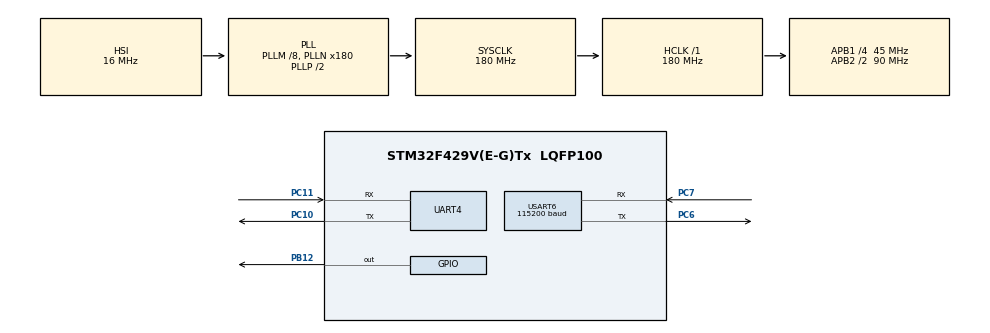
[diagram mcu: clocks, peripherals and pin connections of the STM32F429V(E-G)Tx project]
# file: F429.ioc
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Dma.Request0=USART6_RX
Dma.Request1=USART6_TX
Dma.USART6_RX.0.Direction=DMA_PERIPH_TO_MEMORY
Dma.USART6_RX.0.FIFOMode=DMA_FIFOMODE_DISABLE
Dma.USART6_RX.0.Instance=DMA2_Stream1
Dma.USART6_RX.0.MemDataAlignment=DMA_MDATAALIGN_BYTE
Dma.USART6_RX.0.MemInc=DMA_MINC_ENABLE
Dma.USART6_RX.0.Mode=DMA_NORMAL
Dma.USART6_RX.0.PeriphDataAlignment=DMA_PDATAALIGN_BYTE
Dma.USART6_RX.0.PeriphInc=DMA_PINC_DISABLE
Dma.USART6_RX.0.Priority=DMA_PRIORITY_LOW
Dma.USART6_TX.1.Direction=DMA_MEMORY_TO_PERIPH
Dma.USART6_TX.1.FIFOMode=DMA_FIFOMODE_DISABLE
Dma.USART6_TX.1.Instance=DMA2_Stream6
Dma.USART6_TX.1.MemDataAlignment=DMA_MDATAALIGN_BYTE
Dma.USART6_TX.1.MemInc=DMA_MINC_ENABLE
Dma.USART6_TX.1.Mode=DMA_NORMAL
Dma.USART6_TX.1.PeriphDataAlignment=DMA_PDATAALIGN_BYTE
Dma.USART6_TX.1.PeriphInc=DMA_PINC_DISABLE
Dma.USART6_TX.1.Priority=DMA_PRIORITY_LOW
FREERTOS.Tasks01=defaultTask,0,128,StartDefaultTask,Default,NULL,Dynamic,NULL,NULL;myTask02,-2,128,StartTask_Test,As weak,NULL,Dynamic,NULL,NULL
Mcu.Family=STM32F4
Mcu.Name=STM32F429V(E-G)Tx
Mcu.Package=LQFP100
NVIC.DMA2_Stream1_IRQn=true\:5\:0\:true\:false\:true\:true\:false\:true
NVIC.DMA2_Stream6_IRQn=true\:5\:0\:true\:false\:true\:true\:false\:true
NVIC.PriorityGroup=NVIC_PRIORITYGROUP_4
NVIC.TIM1_UP_TIM10_IRQn=true\:0\:0\:false\:false\:true\:false\:false\:true
NVIC.TimeBase=TIM1_UP_TIM10_IRQn
NVIC.TimeBaseIP=TIM1
NVIC.UART4_IRQn=true\:0\:0\:false\:false\:true\:false\:true\:true
NVIC.USART6_IRQn=true\:4\:0\:true\:false\:true\:true\:true\:true
PA13.Mode=Serial_Wire
PA13.Signal=SYS_JTMS-SWDIO
PA14.Mode=Serial_Wire
PA14.Signal=SYS_JTCK-SWCLK
PB12.GPIO_PuPd=GPIO_PULLUP
PB12.PinState=GPIO_PIN_SET
PB12.Signal=GPIO_Output
PC10.Mode=Asynchronous
PC10.Signal=UART4_TX
PC11.Mode=Asynchronous
PC11.Signal=UART4_RX
PC14/OSC32_IN.Mode=LSE-External-Oscillator
PC14/OSC32_IN.Signal=RCC_OSC32_IN
PC15/OSC32_OUT.Mode=LSE-External-Oscillator
PC15/OSC32_OUT.Signal=RCC_OSC32_OUT
PC6.Mode=Asynchronous
PC6.Signal=USART6_TX
PC7.Mode=Asynchronous
PC7.Signal=USART6_RX
PH0/OSC_IN.Mode=HSE-External-Oscillator
PH0/OSC_IN.Signal=RCC_OSC_IN
PH1/OSC_OUT.Mode=HSE-External-Oscillator
PH1/OSC_OUT.Signal=RCC_OSC_OUT
ProjectManager.HeapSize=0x200
ProjectManager.StackSize=0x400
ProjectManager.TargetToolchain=MDK-ARM V5.27
RCC.48MHZClocksFreq_Value=90000000
RCC.AHBFreq_Value=180000000
RCC.APB1CLKDivider=RCC_HCLK_DIV4
RCC.APB1Freq_Value=45000000
RCC.APB1TimFreq_Value=90000000
RCC.APB2CLKDivider=RCC_HCLK_DIV2
RCC.APB2Freq_Value=90000000
RCC.APB2TimFreq_Value=180000000
RCC.CortexFreq_Value=180000000
RCC.HCLKFreq_Value=180000000
RCC.HSE_VALUE=8000000
RCC.HSI_VALUE=16000000
RCC.PLLM=8
RCC.PLLN=180
RCC.SYSCLKFreq_VALUE=180000000
RCC.SYSCLKSource=RCC_SYSCLKSOURCE_PLLCLK
RCC.VCOOutputFreq_Value=360000000
UART4.VirtualMode=Asynchronous
USART6.BaudRate=115200
USART6.VirtualMode=VM_ASYNC
VP_FREERTOS_VS_CMSIS_V1.Mode=CMSIS_V1
VP_SYS_VS_tim1.Mode=TIM1
board=custom

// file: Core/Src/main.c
/* USER CODE BEGIN Header */
/**
 ******************************************************************************
 * @file           : main.c
 * @brief          : Main program body
 ******************************************************************************
 * @attention
 *
 * <h2><center>&copy; Copyright (c) 2020 STMicroelectronics.
 * All rights reserved.</center></h2>
 *
 * This software component is licensed by ST under Ultimate Liberty license
 * SLA0044, the "License"; You may not use this file except in compliance with
 * the License. You may obtain a copy of the License at:
 *                             www.st.com/SLA0044
 *
 ******************************************************************************
 */
/* USER CODE END Header */
#include "main.h"
#include "cmsis_os.h"

/* USER CODE BEGIN Includes */
#include "pppapp.h"
#include "test_http.h"
#include "uart_driver.h"
/* USER CODE END Includes */

/* USER CODE BEGIN PTD */
#ifdef __GNUC__
#define PUTCHAR_PROTOTYPE int __io_putchar(int ch)
#else
#define PUTCHAR_PROTOTYPE int fputc(int ch, FILE* f)
#endif
PUTCHAR_PROTOTYPE
{

    while ((UART4->SR & 0X40) == 0)
        ;
    UART4->DR = ( uint8_t )ch;
    return ch;
}
/* USER CODE END PTD */

/* USER CODE BEGIN PM */

uint8_t uart4_rxbuf[10];
/* USER CODE END PM */

UART_HandleTypeDef huart4;
UART_HandleTypeDef huart6;
DMA_HandleTypeDef  hdma_usart6_rx;
DMA_HandleTypeDef  hdma_usart6_tx;

osThreadId defaultTaskHandle;
osThreadId myTask02Handle;
/* USER CODE BEGIN PV */
uint8_t pData[1] = { 0 };
uint8_t Resv[1]  = { 0 };
/* USER CODE END PV */

void        SystemClock_Config(void);
static void MX_GPIO_Init(void);
static void MX_DMA_Init(void);
static void MX_USART6_UART_Init(void);
static void MX_UART4_Init(void);
void        StartDefaultTask(void const* argument);
void        StartTask_Test(void const* argument);

/* USER CODE BEGIN PFP */
// void tcp_connect_init( void );
// uint8_t lwip_comm_init(void);
/* USER CODE END PFP */

/* USER CODE BEGIN 0 */

void HAL_UART_RxCpltCallback(UART_HandleTypeDef* huart)
{
    DataType debug_data;
    // // HAL_UART_Transmit(&huart4, pData, 1, 1);
    // HAL_UART_Receive(&huart6, pData, sizeof(pData), 1);
    // Resv[0] = pData[0];

    // HAL_UART_Transmit(&huart4, Resv, 1, 1);
    // // UartIdleReceiveData(&huart6, &seqCQueue);
    // HAL_UART_Receive_IT(&huart6, pData, 1);

    if (huart->Instance == USART6)
    {
        if (QueueNotEmpty(&seqCQueue))
        {
            if (QueueDelete(&seqCQueue, &debug_data))
            {
                HAL_UART_Transmit(&huart4, debug_data.index, debug_data.size, 100);
            }
        }
    }
    if (huart->Instance == UART4)
    {
        HAL_UART_Transmit(&huart4, uart4_rxbuf, 1, 100);  // 把收到的字节原样发送出去
        HAL_UART_Receive_IT(&huart4, uart4_rxbuf, 1);     // 重新注册一次，要不然下次收不到了
    }
}

/* USER CODE END 0 */

int main(void)
{

    /* MCU Configuration--------------------------------------------------------*/

    /* Reset of all peripherals, Initializes the Flash interface and the Systick. */
    HAL_Init();

    /* USER CODE BEGIN Init */
    InitPeripherals();
    /* USER CODE END Init */

    /* Configure the system clock */
    SystemClock_Config();

    /* USER CODE BEGIN SysInit */
    // SCB->VTOR = FLASH_BASE | 0x8000;
    /* USER CODE END SysInit */

    /* Initialize all configured peripherals */
    MX_GPIO_Init();
    MX_DMA_Init();
    MX_USART6_UART_Init();
    MX_UART4_Init();
    /* USER CODE BEGIN 2 */
    HAL_GPIO_WritePin(GPIOB, GPIO_PIN_12, GPIO_PIN_SET);
    HAL_UART_Receive_IT(&huart6, ( uint8_t* )pData, 1);
    /* USER CODE END 2 */

    /* Create the thread(s) */
    /* definition and creation of defaultTask */
    osThreadDef(defaultTask, StartDefaultTask, osPriorityNormal, 0, 128 * 2);
    defaultTaskHandle = osThreadCreate(osThread(defaultTask), NULL);

    /* definition and creation of myTask02 */
    osThreadDef(myTask02, StartTask_Test, osPriorityLow, 0, 128 * 2);
    myTask02Handle = osThreadCreate(osThread(myTask02), NULL);

    /* USER CODE BEGIN RTOS_THREADS */
    /* add threads, ... */
    // tcp_connect_init();

    /* USER CODE END RTOS_THREADS */

    /* Start scheduler */
    osKernelStart();

    /* We should never get here as control is now taken by the scheduler */
    /* Infinite loop */
    while (1)
    {

    }
}

void SystemClock_Config(void)
{
    RCC_OscInitTypeDef RCC_OscInitStruct = { 0 };
    RCC_ClkInitTypeDef RCC_ClkInitStruct = { 0 };

    /** Configure the main internal regulator output voltage
     */
    __HAL_RCC_PWR_CLK_ENABLE();
    __HAL_PWR_VOLTAGESCALING_CONFIG(PWR_REGULATOR_VOLTAGE_SCALE1);
    /** Initializes the RCC Oscillators according to the specified parameters
     * in the RCC_OscInitTypeDef structure.
     */
    RCC_OscInitStruct.OscillatorType      = RCC_OSCILLATORTYPE_HSI;
    RCC_OscInitStruct.HSIState            = RCC_HSI_ON;
    RCC_OscInitStruct.HSICalibrationValue = RCC_HSICALIBRATION_DEFAULT;
    RCC_OscInitStruct.PLL.PLLState        = RCC_PLL_ON;
    RCC_OscInitStruct.PLL.PLLSource       = RCC_PLLSOURCE_HSI;
    RCC_OscInitStruct.PLL.PLLM            = 8;
    RCC_OscInitStruct.PLL.PLLN            = 180;
    RCC_OscInitStruct.PLL.PLLP            = RCC_PLLP_DIV2;
    RCC_OscInitStruct.PLL.PLLQ            = 4;
    if (HAL_RCC_OscConfig(&RCC_OscInitStruct) != HAL_OK)
    {
        Error_Handler();
    }
    /** Activate the Over-Drive mode
     */
    if (HAL_PWREx_EnableOverDrive() != HAL_OK)
    {
        Error_Handler();
    }
    /** Initializes the CPU, AHB and APB buses clocks
     */
    RCC_ClkInitStruct.ClockType      = RCC_CLOCKTYPE_HCLK | RCC_CLOCKTYPE_SYSCLK | RCC_CLOCKTYPE_PCLK1 | RCC_CLOCKTYPE_PCLK2;
    RCC_ClkInitStruct.SYSCLKSource   = RCC_SYSCLKSOURCE_PLLCLK;
    RCC_ClkInitStruct.AHBCLKDivider  = RCC_SYSCLK_DIV1;
    RCC_ClkInitStruct.APB1CLKDivider = RCC_HCLK_DIV4;
    RCC_ClkInitStruct.APB2CLKDivider = RCC_HCLK_DIV2;

    if (HAL_RCC_ClockConfig(&RCC_ClkInitStruct, FLASH_LATENCY_5) != HAL_OK)
    {
        Error_Handler();
    }
}

static void MX_UART4_Init(void)
{

    huart4.Instance          = UART4;
    huart4.Init.BaudRate     = 115200;
    huart4.Init.WordLength   = UART_WORDLENGTH_8B;
    huart4.Init.StopBits     = UART_STOPBITS_1;
    huart4.Init.Parity       = UART_PARITY_NONE;
    huart4.Init.Mode         = UART_MODE_TX_RX;
    huart4.Init.HwFlowCtl    = UART_HWCONTROL_NONE;
    huart4.Init.OverSampling = UART_OVERSAMPLING_16;
    if (HAL_UART_Init(&huart4) != HAL_OK)
    {
        Error_Handler();
    }
    /* USER CODE BEGIN UART4_Init 2 */
    HAL_UART_Receive_IT(&huart4, uart4_rxbuf, 1);
    /* USER CODE END UART4_Init 2 */
}

static void MX_USART6_UART_Init(void)
{

    huart6.Instance          = USART6;
    huart6.Init.BaudRate     = 115200;
    huart6.Init.WordLength   = UART_WORDLENGTH_8B;
    huart6.Init.StopBits     = UART_STOPBITS_1;
    huart6.Init.Parity       = UART_PARITY_NONE;
    huart6.Init.Mode         = UART_MODE_TX_RX;
    huart6.Init.HwFlowCtl    = UART_HWCONTROL_NONE;
    huart6.Init.OverSampling = UART_OVERSAMPLING_16;
    if (HAL_UART_Init(&huart6) != HAL_OK)
    {
        Error_Handler();
    }
    /* USER CODE BEGIN USART6_Init 2 */
    __HAL_UART_ENABLE_IT(&huart6, UART_IT_IDLE);
    /* USER CODE END USART6_Init 2 */
}

static void MX_DMA_Init(void)
{

    /* DMA controller clock enable */
    __HAL_RCC_DMA2_CLK_ENABLE();

    /* DMA interrupt init */
    /* DMA2_Stream1_IRQn interrupt configuration */
    HAL_NVIC_SetPriority(DMA2_Stream1_IRQn, 5, 0);
    HAL_NVIC_EnableIRQ(DMA2_Stream1_IRQn);
    /* DMA2_Stream6_IRQn interrupt configuration */
    HAL_NVIC_SetPriority(DMA2_Stream6_IRQn, 5, 0);
    HAL_NVIC_EnableIRQ(DMA2_Stream6_IRQn);
}

static void MX_GPIO_Init(void)
{
    GPIO_InitTypeDef GPIO_InitStruct = { 0 };

    /* GPIO Ports Clock Enable */
    __HAL_RCC_GPIOC_CLK_ENABLE();
    __HAL_RCC_GPIOH_CLK_ENABLE();
    __HAL_RCC_GPIOB_CLK_ENABLE();
    __HAL_RCC_GPIOA_CLK_ENABLE();

    /*Configure GPIO pin Output Level */
    HAL_GPIO_WritePin(GPIOB, GPIO_PIN_12, GPIO_PIN_SET);

    /*Configure GPIO pin : PB12 */
    GPIO_InitStruct.Pin   = GPIO_PIN_12;
    GPIO_InitStruct.Mode  = GPIO_MODE_OUTPUT_PP;
    GPIO_InitStruct.Pull  = GPIO_PULLUP;
    GPIO_InitStruct.Speed = GPIO_SPEED_FREQ_LOW;
    HAL_GPIO_Init(GPIOB, &GPIO_InitStruct);
}

void StartDefaultTask(void const* argument)
{
    /* USER CODE BEGIN 5 */
    printf("INIT LWIP\r\n");
    lwip_comm_init();
    printf("INIT OVER\r\n");

    printf("OTA VER2.0\r\n");
    /* Infinite loop */
    for (;;)
    {
        printf("idle Task is Runnning\r\n");
        osDelay(10000);
    }
    /* USER CODE END 5 */
}

__weak void StartTask_Test(void const* argument)
{
    /* USER CODE BEGIN StartTask_Test */
    void tcp_connect_init(void);
    tcp_connect_init();
    /* Infinite loop */
    printf("RTOS IS RUNNING\r\n");
    for (;;)
    {
        vTaskDelete(NULL);
        osDelay(1000);
    }
    /* USER CODE END StartTask_Test */
}

void HAL_TIM_PeriodElapsedCallback(TIM_HandleTypeDef* htim)
{
    if (htim->Instance == TIM1)
    {
        HAL_IncTick();
    }
}

void Error_Handler(void)
{
}

/************************ (C) COPYRIGHT STMicroelectronics *****END OF FILE****/
